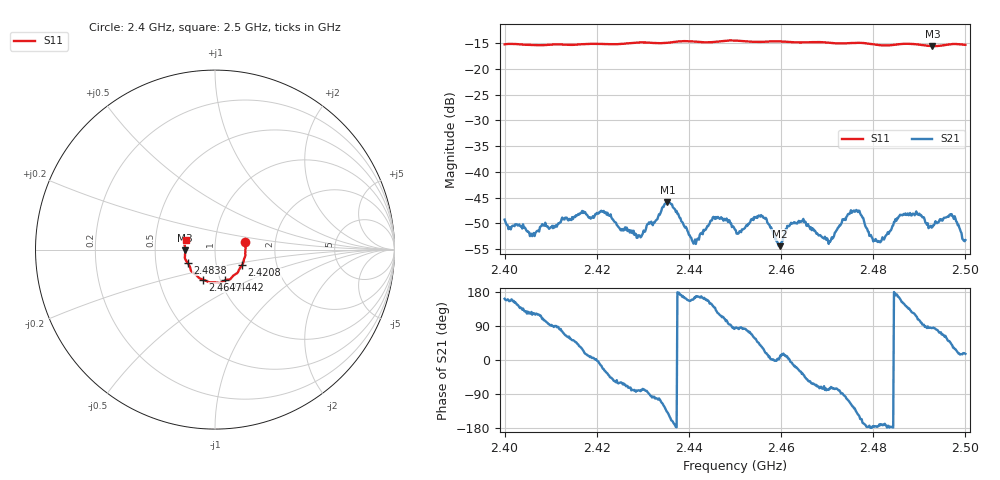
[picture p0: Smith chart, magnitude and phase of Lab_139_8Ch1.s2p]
# Hz S RI R 50
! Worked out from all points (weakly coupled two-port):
!   601 points, 2.4 GHz to 2.5 GHz, reference 50 ohm
!   highest |S21| = -45.82 dB at 2.4353 GHz (marker M1); lowest = -54.4 dB at 2.4597 GHz (marker M2)
!   lowest |S11| = -15.6 dB at 2.4928 GHz (marker M3), VSWR 1.40, Z = 35.8 - j0.353 ohm
!   |S11| at or under -10 dB: start of sweep to end of sweep
!   S12 and S22 are empty: the file has one direction only
!   S11 on the Smith chart (normalised r, x): 2.4 GHz: 1.40, +0.12; 2.4208 GHz: 1.33, -0.24; 2.4442 GHz: 1.05, -0.37; 2.4647 GHz: 0.83, -0.29; 2.4838 GHz: 0.73, -0.11; 2.5 GHz: 0.72, +0.08
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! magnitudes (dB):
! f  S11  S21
! 2.4 GHz  -15.3  -49.3
! 2.406 GHz  -15.4  -52.5
! 2.4167 GHz  -15.2  -47.9
! 2.4208 GHz  -15.2  -47.6
! 2.4292 GHz  -14.9  -52.4
! 2.4333 GHz  -15.0  -48.7
! 2.4353 GHz  -15.0  -45.8
! 2.441 GHz  -14.7  -53.9
! 2.4442 GHz  -14.9  -50.5
! 2.45 GHz  -14.5  -51.2
! 2.4557 GHz  -14.8  -48.4
! 2.4597 GHz  -14.7  -54.4
! 2.4647 GHz  -14.9  -49.4
! 2.4667 GHz  -14.8  -51.3
! 2.4707 GHz  -15.0  -53.5
! 2.4763 GHz  -15.0  -47.4
! 2.4805 GHz  -15.3  -53.0
! 2.4833 GHz  -15.5  -52.0
! 2.4838 GHz  -15.4  -51.3
! 2.4928 GHz  -15.6  -50.7
! 2.4972 GHz  -15.2  -48.5
! 2.5 GHz  -15.4  -53.2
